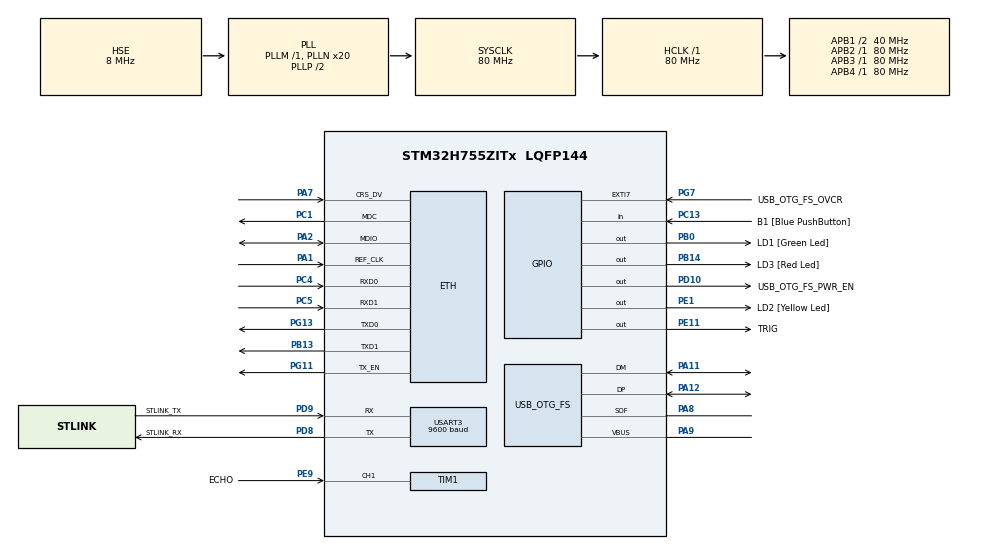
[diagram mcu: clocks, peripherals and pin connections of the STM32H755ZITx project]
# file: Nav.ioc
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CortexM4.IPs=FATFS_M4\:I,FREERTOS_M4\:I,IWDG2\:I,RCC,WWDG2\:I,DMA,BDMA,MDMA,NVIC2\:I,ETH,USART3,DEBUG,USB_DEVICE_M4\:I,USB_HOST_M4\:I,PDM2PCM_M4\:I,PWR,RESMGR_UTILITY,SYS_M4\:I,CORTEX_M4\:I,OPENAMP_M4\:I,VREFBUF,GPIO
CortexM7.IPs=FATFS_M7\:I,FREERTOS_M7\:I,IWDG1\:I,RCC\:I,WWDG1\:I,DMA\:I,BDMA\:I,MDMA\:I,NVIC1\:I,ETH\:I,USART3\:I,USB_OTG_FS\:I,SYS\:I,CORTEX_M7\:I,DEBUG\:I,USB_DEVICE_M7\:I,USB_HOST_M7\:I,PDM2PCM_M7\:I,PWR\:I,RESMGR_UTILITY\:I,OPENAMP_M7\:I,VREFBUF\:I,GPIO\:I,TIM1\:I
CortexM7.Pins=PC13,PB0,PE11,PB14,PD10,PG7,PE1
ETH.MediaInterface=HAL_ETH_RMII_MODE
Mcu.Family=STM32H7
Mcu.Name=STM32H755ZITx
Mcu.Package=LQFP144
NVIC1.PriorityGroup=NVIC_PRIORITYGROUP_4
NVIC1.TIM1_BRK_IRQn=true\:0\:0\:false\:false\:true\:true\:true\:true
NVIC1.TIM1_CC_IRQn=true\:0\:0\:false\:false\:true\:true\:true\:true
NVIC1.TIM1_TRG_COM_IRQn=true\:0\:0\:false\:false\:true\:true\:true\:true
NVIC1.TIM1_UP_IRQn=true\:0\:0\:false\:false\:true\:true\:true\:true
NVIC2.CM7_SEV_IRQn=true\:0\:0\:false\:false\:true\:true\:false\:true
NVIC2.ECC_IRQn=true\:0\:0\:false\:false\:true\:true\:false\:true
NVIC2.FLASH_IRQn=true\:0\:0\:false\:false\:true\:true\:true\:true
NVIC2.FPU_IRQn=true\:0\:0\:false\:false\:true\:true\:false\:true
NVIC2.HOLD_CORE_IRQn=true\:0\:0\:false\:false\:true\:true\:false\:true
NVIC2.HSEM2_IRQn=true\:0\:0\:false\:false\:true\:true\:true\:true
NVIC2.PVD_AVD_IRQn=true\:0\:0\:false\:false\:true\:true\:true\:true
NVIC2.PriorityGroup=NVIC_PRIORITYGROUP_4
PA1.Mode=RMII
PA1.PinAttribute=CortexM7
PA1.Signal=ETH_REF_CLK
PA11.Mode=Device_Only
PA11.PinAttribute=CortexM7
PA11.Signal=USB_OTG_FS_DM
PA12.Mode=Device_Only
PA12.PinAttribute=CortexM7
PA12.Signal=USB_OTG_FS_DP
PA2.Mode=RMII
PA2.PinAttribute=CortexM7
PA2.Signal=ETH_MDIO
PA7.Mode=RMII
PA7.PinAttribute=CortexM7
PA7.Signal=ETH_CRS_DV
PA8.Mode=Activate_SOF_FS
PA8.PinAttribute=CortexM7
PA8.Signal=USB_OTG_FS_SOF
PA9.Mode=Activate_VBUS
PA9.PinAttribute=CortexM7
PA9.Signal=USB_OTG_FS_VBUS
PB0.GPIO_Label=LD1 [Green Led]
PB0.PinAttribute=CortexM7
PB0.Signal=GPIO_Output
PB13.Mode=RMII
PB13.PinAttribute=CortexM7
PB13.Signal=ETH_TXD1
PB14.GPIO_Label=LD3 [Red Led]
PB14.PinAttribute=CortexM7
PB14.Signal=GPIO_Output
PC1.Mode=RMII
PC1.PinAttribute=CortexM7
PC1.Signal=ETH_MDC
PC13.GPIO_Label=B1 [Blue PushButton]
PC13.PinAttribute=CortexM7
PC13.Signal=GPIO_Input
PC14-OSC32_IN\ (OSC32_IN).Mode=LSE-External-Oscillator
PC14-OSC32_IN\ (OSC32_IN).PinAttribute=CortexM7
PC14-OSC32_IN\ (OSC32_IN).Signal=RCC_OSC32_IN
PC15-OSC32_OUT\ (OSC32_OUT).Mode=LSE-External-Oscillator
PC15-OSC32_OUT\ (OSC32_OUT).PinAttribute=CortexM7
PC15-OSC32_OUT\ (OSC32_OUT).Signal=RCC_OSC32_OUT
PC4.Mode=RMII
PC4.PinAttribute=CortexM7
PC4.Signal=ETH_RXD0
PC5.Mode=RMII
PC5.PinAttribute=CortexM7
PC5.Signal=ETH_RXD1
PD10.GPIO_Label=USB_OTG_FS_PWR_EN
PD10.PinAttribute=CortexM7
PD10.Signal=GPIO_Output
PD8.GPIO_Label=STLINK_RX
PD8.Mode=Asynchronous
PD8.PinAttribute=CortexM7
PD8.Signal=USART3_TX
PD9.GPIO_Label=STLINK_TX
PD9.Mode=Asynchronous
PD9.PinAttribute=CortexM7
PD9.Signal=USART3_RX
PE1.GPIO_Label=LD2 [Yellow Led]
PE1.PinAttribute=CortexM7
PE1.Signal=GPIO_Output
PE11.GPIO_Label=TRIG
PE11.PinAttribute=CortexM7
PE11.Signal=GPIO_Output
PE9.GPIO_Label=ECHO
PE9.PinAttribute=CortexM7
PE9.Signal=S_TIM1_CH1
PG11.Mode=RMII
PG11.PinAttribute=CortexM7
PG11.Signal=ETH_TX_EN
PG13.Mode=RMII
PG13.PinAttribute=CortexM7
PG13.Signal=ETH_TXD0
PG7.GPIO_Label=USB_OTG_FS_OVCR
PG7.PinAttribute=CortexM7
PG7.Signal=GPXTI7
PH0-OSC_IN\ (PH0).Mode=HSE-External-Clock-Source
PH0-OSC_IN\ (PH0).PinAttribute=CortexM7
PH0-OSC_IN\ (PH0).Signal=RCC_OSC_IN
PH1-OSC_OUT\ (PH1).PinAttribute=CortexM7
PH1-OSC_OUT\ (PH1).Signal=RCC_OSC_OUT
ProjectManager.HeapSize=M4-0x200,M7-0x200
ProjectManager.StackSize=M4-0x400,M7-0x400
ProjectManager.TargetToolchain=STM32CubeIDE
RCC.ADCFreq_Value=16125000
RCC.APB1Freq_Value=40000000
RCC.APB2Freq_Value=80000000
RCC.APB3Freq_Value=80000000
RCC.APB4Freq_Value=80000000
RCC.CortexFreq_Value=80000000
RCC.D2PPRE1=RCC_APB1_DIV2
RCC.DIVM1=1
RCC.DIVN1=20
RCC.DIVQ1=4
RCC.HCLKFreq_Value=80000000
RCC.HSE_VALUE=8000000
RCC.PLL2FRACN=0
RCC.PLL3FRACN=0
RCC.PLLFRACN=0
RCC.PWR_Regulator_Voltage_Scale=PWR_REGULATOR_VOLTAGE_SCALE2
RCC.SYSCLKFreq_VALUE=80000000
RCC.SYSCLKSource=RCC_SYSCLKSOURCE_PLLCLK
RCC.SupplySource=PWR_DIRECT_SMPS_SUPPLY
RCC.USBFreq_Value=40000000
SH.S_TIM1_CH1.0=TIM1_CH1,Input_Capture1_from_TI1
TIM1.Channel-Input_Capture1_from_TI1=TIM_CHANNEL_1
TIM1.Prescaler=72
USART3.BaudRate=9600
USART3.VirtualMode-Asynchronous=VM_ASYNC
USB_OTG_FS.VirtualMode=Device_Only
VP_SYS_M4_VS_Systick.Mode=SysTick
VP_TIM1_VS_ClockSourceINT.Mode=Internal
board=NUCLEO-H755ZI-Q

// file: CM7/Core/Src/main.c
/* USER CODE BEGIN Header */
/**
  ******************************************************************************
  * @file           : main.c
  * @brief          : Main program body
  ******************************************************************************
  * @attention
  *
  * Copyright (c) 2025 STMicroelectronics.
  * All rights reserved.
  *
  * This software is licensed under terms that can be found in the LICENSE file
  * in the root directory of this software component.
  * If no LICENSE file comes with this software, it is provided AS-IS.
  *
  ******************************************************************************
  */
/* USER CODE END Header */
#include "main.h"
#include "string.h"

/* USER CODE BEGIN Includes */
#include "hcsr04.h"
/* USER CODE END Includes */

/* USER CODE BEGIN PD */

#ifndef HSEM_ID_0
#define HSEM_ID_0 (0U) /* HW semaphore 0*/
#endif
/* USER CODE END PD */

#if defined ( __ICCARM__ ) /*!< IAR Compiler */
#pragma location=0x30000000
ETH_DMADescTypeDef  DMARxDscrTab[ETH_RX_DESC_CNT]; /* Ethernet Rx DMA Descriptors */
#pragma location=0x30000200
ETH_DMADescTypeDef  DMATxDscrTab[ETH_TX_DESC_CNT]; /* Ethernet Tx DMA Descriptors */

#elif defined ( __CC_ARM )  /* MDK ARM Compiler */

__attribute__((at(0x30000000))) ETH_DMADescTypeDef  DMARxDscrTab[ETH_RX_DESC_CNT]; /* Ethernet Rx DMA Descriptors */
__attribute__((at(0x30000200))) ETH_DMADescTypeDef  DMATxDscrTab[ETH_TX_DESC_CNT]; /* Ethernet Tx DMA Descriptors */

#elif defined ( __GNUC__ ) /* GNU Compiler */
ETH_DMADescTypeDef DMARxDscrTab[ETH_RX_DESC_CNT] __attribute__((section(".RxDecripSection"))); /* Ethernet Rx DMA Descriptors */
ETH_DMADescTypeDef DMATxDscrTab[ETH_TX_DESC_CNT] __attribute__((section(".TxDecripSection")));   /* Ethernet Tx DMA Descriptors */

#endif

ETH_TxPacketConfig TxConfig;

ETH_HandleTypeDef heth;

TIM_HandleTypeDef htim1;

UART_HandleTypeDef huart3;

PCD_HandleTypeDef hpcd_USB_OTG_FS;

/* USER CODE BEGIN PV */
sr04_t sr04;
/* USER CODE END PV */

void SystemClock_Config(void);
static void MX_GPIO_Init(void);
static void MX_ETH_Init(void);
static void MX_USART3_UART_Init(void);
static void MX_USB_OTG_FS_PCD_Init(void);
static void MX_TIM1_Init(void);

int main(void)
{
/* USER CODE BEGIN Boot_Mode_Sequence_0 */
  int32_t timeout;
/* USER CODE END Boot_Mode_Sequence_0 */

/* USER CODE BEGIN Boot_Mode_Sequence_1 */
  /* Wait until CPU2 boots and enters in stop mode or timeout*/
  timeout = 0xFFFF;
  while((__HAL_RCC_GET_FLAG(RCC_FLAG_D2CKRDY) != RESET) && (timeout-- > 0));
  if ( timeout < 0 )
  {
  Error_Handler();
  }
/* USER CODE END Boot_Mode_Sequence_1 */
  /* MCU Configuration--------------------------------------------------------*/

  /* Reset of all peripherals, Initializes the Flash interface and the Systick. */
  HAL_Init();

  /* USER CODE BEGIN Init */
  SystemCoreClockUpdate();  // 🔁 Actualiza el valor global correcto del reloj
  /* USER CODE END Init */

  /* Configure the system clock */
  SystemClock_Config();
/* USER CODE BEGIN Boot_Mode_Sequence_2 */
/* When system initialization is finished, Cortex-M7 will release Cortex-M4 by means of
HSEM notification */
/*HW semaphore Clock enable*/
__HAL_RCC_HSEM_CLK_ENABLE();
/*Take HSEM */
HAL_HSEM_FastTake(HSEM_ID_0);
/*Release HSEM in order to notify the CPU2(CM4)*/
HAL_HSEM_Release(HSEM_ID_0,0);
/* wait until CPU2 wakes up from stop mode */
timeout = 0xFFFF;
while((__HAL_RCC_GET_FLAG(RCC_FLAG_D2CKRDY) == RESET) && (timeout-- > 0));
if ( timeout < 0 )
{
Error_Handler();
}
/* USER CODE END Boot_Mode_Sequence_2 */

  /* Initialize all configured peripherals */
  MX_GPIO_Init();
  MX_ETH_Init();
  MX_USART3_UART_Init();
  MX_USB_OTG_FS_PCD_Init();
  MX_TIM1_Init();
  /* USER CODE BEGIN 2 */
  printf("Initializing...\r\n");
  sr04.trig_port = GPIOE;
  sr04.trig_pin = GPIO_PIN_11;
  sr04.echo_htim = &htim1;
  sr04.echo_channel = TIM_CHANNEL_1;
  sr04_init(&sr04);
  HAL_TIM_IC_Start_IT(&htim1, TIM_CHANNEL_1);     // Captura con interrupción
  HAL_TIM_Base_Start_IT(&htim1);                  // Base del timer con interrupción (para detectar overflow)
  /* USER CODE END 2 */

  /* Infinite loop */
  while (1)
  {

    /* USER CODE BEGIN 3 */
	sr04_trigger(&sr04);
	HAL_Delay(100);
	printf("Distance: %lu cm\r\n", sr04.distance / 10); // For cm
	// LED for debug
	HAL_Delay(100);
	HAL_GPIO_TogglePin(LD1_GPIO_Port, LD1_Pin);
	HAL_Delay(100);
  }
  /* USER CODE END 3 */
}

void SystemClock_Config(void)
{
  RCC_OscInitTypeDef RCC_OscInitStruct = {0};
  RCC_ClkInitTypeDef RCC_ClkInitStruct = {0};

  /** Supply configuration update enable
  */
  HAL_PWREx_ConfigSupply(PWR_DIRECT_SMPS_SUPPLY);

  /** Configure the main internal regulator output voltage
  */
  __HAL_PWR_VOLTAGESCALING_CONFIG(PWR_REGULATOR_VOLTAGE_SCALE2);

  while(!__HAL_PWR_GET_FLAG(PWR_FLAG_VOSRDY)) {}

  /** Initializes the RCC Oscillators according to the specified parameters
  * in the RCC_OscInitTypeDef structure.
  */
  RCC_OscInitStruct.OscillatorType = RCC_OSCILLATORTYPE_HSE;
  RCC_OscInitStruct.HSEState = RCC_HSE_BYPASS;
  RCC_OscInitStruct.PLL.PLLState = RCC_PLL_ON;
  RCC_OscInitStruct.PLL.PLLSource = RCC_PLLSOURCE_HSE;
  RCC_OscInitStruct.PLL.PLLM = 1;
  RCC_OscInitStruct.PLL.PLLN = 20;
  RCC_OscInitStruct.PLL.PLLP = 2;
  RCC_OscInitStruct.PLL.PLLQ = 4;
  RCC_OscInitStruct.PLL.PLLR = 2;
  RCC_OscInitStruct.PLL.PLLRGE = RCC_PLL1VCIRANGE_3;
  RCC_OscInitStruct.PLL.PLLVCOSEL = RCC_PLL1VCOMEDIUM;
  RCC_OscInitStruct.PLL.PLLFRACN = 0;
  if (HAL_RCC_OscConfig(&RCC_OscInitStruct) != HAL_OK)
  {
    Error_Handler();
  }

  /** Initializes the CPU, AHB and APB buses clocks
  */
  RCC_ClkInitStruct.ClockType = RCC_CLOCKTYPE_HCLK|RCC_CLOCKTYPE_SYSCLK
                              |RCC_CLOCKTYPE_PCLK1|RCC_CLOCKTYPE_PCLK2
                              |RCC_CLOCKTYPE_D3PCLK1|RCC_CLOCKTYPE_D1PCLK1;
  RCC_ClkInitStruct.SYSCLKSource = RCC_SYSCLKSOURCE_PLLCLK;
  RCC_ClkInitStruct.SYSCLKDivider = RCC_SYSCLK_DIV1;
  RCC_ClkInitStruct.AHBCLKDivider = RCC_HCLK_DIV1;
  RCC_ClkInitStruct.APB3CLKDivider = RCC_APB3_DIV1;
  RCC_ClkInitStruct.APB1CLKDivider = RCC_APB1_DIV2;
  RCC_ClkInitStruct.APB2CLKDivider = RCC_APB2_DIV1;
  RCC_ClkInitStruct.APB4CLKDivider = RCC_APB4_DIV1;

  if (HAL_RCC_ClockConfig(&RCC_ClkInitStruct, FLASH_LATENCY_1) != HAL_OK)
  {
    Error_Handler();
  }
}

static void MX_ETH_Init(void)
{

   static uint8_t MACAddr[6];

  heth.Instance = ETH;
  MACAddr[0] = 0x00;
  MACAddr[1] = 0x80;
  MACAddr[2] = 0xE1;
  MACAddr[3] = 0x00;
  MACAddr[4] = 0x00;
  MACAddr[5] = 0x00;
  heth.Init.MACAddr = &MACAddr[0];
  heth.Init.MediaInterface = HAL_ETH_RMII_MODE;
  heth.Init.TxDesc = DMATxDscrTab;
  heth.Init.RxDesc = DMARxDscrTab;
  heth.Init.RxBuffLen = 1524;

  if (HAL_ETH_Init(&heth) != HAL_OK)
  {
    Error_Handler();
  }

  memset(&TxConfig, 0 , sizeof(ETH_TxPacketConfig));
  TxConfig.Attributes = ETH_TX_PACKETS_FEATURES_CSUM | ETH_TX_PACKETS_FEATURES_CRCPAD;
  TxConfig.ChecksumCtrl = ETH_CHECKSUM_IPHDR_PAYLOAD_INSERT_PHDR_CALC;
  TxConfig.CRCPadCtrl = ETH_CRC_PAD_INSERT;

}

static void MX_TIM1_Init(void)
{

  TIM_ClockConfigTypeDef sClockSourceConfig = {0};
  TIM_MasterConfigTypeDef sMasterConfig = {0};
  TIM_IC_InitTypeDef sConfigIC = {0};

  htim1.Instance = TIM1;
  htim1.Init.Prescaler = 72;
  htim1.Init.CounterMode = TIM_COUNTERMODE_UP;
  htim1.Init.Period = 65535;
  htim1.Init.ClockDivision = TIM_CLOCKDIVISION_DIV1;
  htim1.Init.RepetitionCounter = 0;
  htim1.Init.AutoReloadPreload = TIM_AUTORELOAD_PRELOAD_DISABLE;
  if (HAL_TIM_Base_Init(&htim1) != HAL_OK)
  {
    Error_Handler();
  }
  sClockSourceConfig.ClockSource = TIM_CLOCKSOURCE_INTERNAL;
  if (HAL_TIM_ConfigClockSource(&htim1, &sClockSourceConfig) != HAL_OK)
  {
    Error_Handler();
  }
  if (HAL_TIM_IC_Init(&htim1) != HAL_OK)
  {
    Error_Handler();
  }
  sMasterConfig.MasterOutputTrigger = TIM_TRGO_RESET;
  sMasterConfig.MasterOutputTrigger2 = TIM_TRGO2_RESET;
  sMasterConfig.MasterSlaveMode = TIM_MASTERSLAVEMODE_DISABLE;
  if (HAL_TIMEx_MasterConfigSynchronization(&htim1, &sMasterConfig) != HAL_OK)
  {
    Error_Handler();
  }
  sConfigIC.ICPolarity = TIM_INPUTCHANNELPOLARITY_RISING;
  sConfigIC.ICSelection = TIM_ICSELECTION_DIRECTTI;
  sConfigIC.ICPrescaler = TIM_ICPSC_DIV1;
  sConfigIC.ICFilter = 0;
  if (HAL_TIM_IC_ConfigChannel(&htim1, &sConfigIC, TIM_CHANNEL_1) != HAL_OK)
  {
    Error_Handler();
  }

}

static void MX_USART3_UART_Init(void)
{

  huart3.Instance = USART3;
  huart3.Init.BaudRate = 9600;
  huart3.Init.WordLength = UART_WORDLENGTH_8B;
  huart3.Init.StopBits = UART_STOPBITS_1;
  huart3.Init.Parity = UART_PARITY_NONE;
  huart3.Init.Mode = UART_MODE_TX_RX;
  huart3.Init.HwFlowCtl = UART_HWCONTROL_NONE;
  huart3.Init.OverSampling = UART_OVERSAMPLING_16;
  huart3.Init.OneBitSampling = UART_ONE_BIT_SAMPLE_DISABLE;
  huart3.Init.ClockPrescaler = UART_PRESCALER_DIV1;
  huart3.AdvancedInit.AdvFeatureInit = UART_ADVFEATURE_NO_INIT;
  if (HAL_UART_Init(&huart3) != HAL_OK)
  {
    Error_Handler();
  }
  if (HAL_UARTEx_SetTxFifoThreshold(&huart3, UART_TXFIFO_THRESHOLD_1_8) != HAL_OK)
  {
    Error_Handler();
  }
  if (HAL_UARTEx_SetRxFifoThreshold(&huart3, UART_RXFIFO_THRESHOLD_1_8) != HAL_OK)
  {
    Error_Handler();
  }
  if (HAL_UARTEx_DisableFifoMode(&huart3) != HAL_OK)
  {
    Error_Handler();
  }

}

static void MX_USB_OTG_FS_PCD_Init(void)
{

  hpcd_USB_OTG_FS.Instance = USB_OTG_FS;
  hpcd_USB_OTG_FS.Init.dev_endpoints = 9;
  hpcd_USB_OTG_FS.Init.speed = PCD_SPEED_FULL;
  hpcd_USB_OTG_FS.Init.dma_enable = DISABLE;
  hpcd_USB_OTG_FS.Init.phy_itface = PCD_PHY_EMBEDDED;
  hpcd_USB_OTG_FS.Init.Sof_enable = DISABLE;
  hpcd_USB_OTG_FS.Init.low_power_enable = DISABLE;
  hpcd_USB_OTG_FS.Init.lpm_enable = DISABLE;
  hpcd_USB_OTG_FS.Init.battery_charging_enable = ENABLE;
  hpcd_USB_OTG_FS.Init.vbus_sensing_enable = ENABLE;
  hpcd_USB_OTG_FS.Init.use_dedicated_ep1 = DISABLE;
  if (HAL_PCD_Init(&hpcd_USB_OTG_FS) != HAL_OK)
  {
    Error_Handler();
  }

}

static void MX_GPIO_Init(void)
{
  GPIO_InitTypeDef GPIO_InitStruct = {0};

  /* GPIO Ports Clock Enable */
  __HAL_RCC_GPIOC_CLK_ENABLE();
  __HAL_RCC_GPIOH_CLK_ENABLE();
  __HAL_RCC_GPIOA_CLK_ENABLE();
  __HAL_RCC_GPIOB_CLK_ENABLE();
  __HAL_RCC_GPIOE_CLK_ENABLE();
  __HAL_RCC_GPIOD_CLK_ENABLE();
  __HAL_RCC_GPIOG_CLK_ENABLE();

  /*Configure GPIO pin Output Level */
  HAL_GPIO_WritePin(GPIOB, LD1_Pin|LD3_Pin, GPIO_PIN_RESET);

  /*Configure GPIO pin Output Level */
  HAL_GPIO_WritePin(GPIOE, TRIG_Pin|LD2_Pin, GPIO_PIN_RESET);

  /*Configure GPIO pin Output Level */
  HAL_GPIO_WritePin(USB_OTG_FS_PWR_EN_GPIO_Port, USB_OTG_FS_PWR_EN_Pin, GPIO_PIN_RESET);

  /*Configure GPIO pin : B1_Pin */
  GPIO_InitStruct.Pin = B1_Pin;
  GPIO_InitStruct.Mode = GPIO_MODE_INPUT;
  GPIO_InitStruct.Pull = GPIO_NOPULL;
  HAL_GPIO_Init(B1_GPIO_Port, &GPIO_InitStruct);

  /*Configure GPIO pins : LD1_Pin LD3_Pin */
  GPIO_InitStruct.Pin = LD1_Pin|LD3_Pin;
  GPIO_InitStruct.Mode = GPIO_MODE_OUTPUT_PP;
  GPIO_InitStruct.Pull = GPIO_NOPULL;
  GPIO_InitStruct.Speed = GPIO_SPEED_FREQ_LOW;
  HAL_GPIO_Init(GPIOB, &GPIO_InitStruct);

  /*Configure GPIO pins : TRIG_Pin LD2_Pin */
  GPIO_InitStruct.Pin = TRIG_Pin|LD2_Pin;
  GPIO_InitStruct.Mode = GPIO_MODE_OUTPUT_PP;
  GPIO_InitStruct.Pull = GPIO_NOPULL;
  GPIO_InitStruct.Speed = GPIO_SPEED_FREQ_LOW;
  HAL_GPIO_Init(GPIOE, &GPIO_InitStruct);

  /*Configure GPIO pin : USB_OTG_FS_PWR_EN_Pin */
  GPIO_InitStruct.Pin = USB_OTG_FS_PWR_EN_Pin;
  GPIO_InitStruct.Mode = GPIO_MODE_OUTPUT_PP;
  GPIO_InitStruct.Pull = GPIO_NOPULL;
  GPIO_InitStruct.Speed = GPIO_SPEED_FREQ_LOW;
  HAL_GPIO_Init(USB_OTG_FS_PWR_EN_GPIO_Port, &GPIO_InitStruct);

  /*Configure GPIO pin : USB_OTG_FS_OVCR_Pin */
  GPIO_InitStruct.Pin = USB_OTG_FS_OVCR_Pin;
  GPIO_InitStruct.Mode = GPIO_MODE_IT_RISING;
  GPIO_InitStruct.Pull = GPIO_NOPULL;
  HAL_GPIO_Init(USB_OTG_FS_OVCR_GPIO_Port, &GPIO_InitStruct);

}

void Error_Handler(void)
{
  __disable_irq();
  while (1)
  {
  }
}
